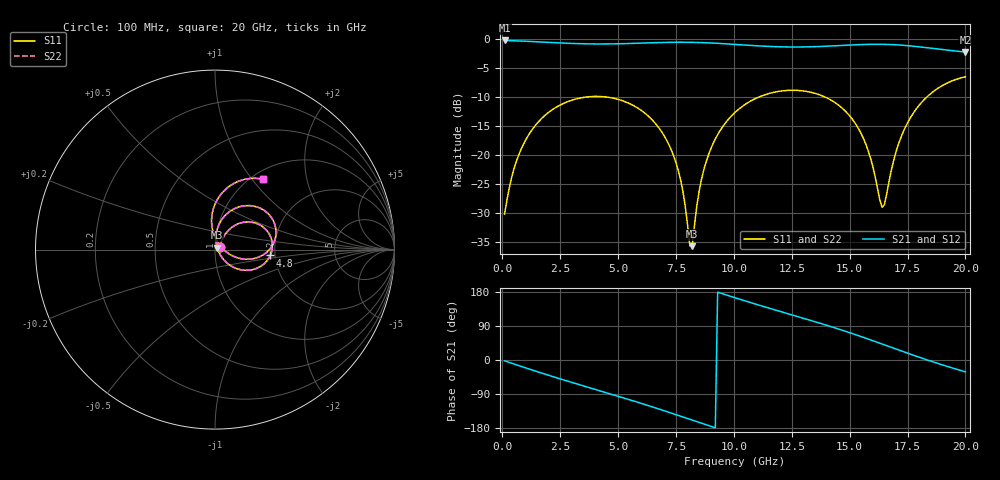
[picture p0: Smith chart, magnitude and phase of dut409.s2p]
! Touchstone file exported from HFSS 2026.1.0
!  File:  C:/ffzhzh/LocalFiles/Ansys_Project_Files/temp_train_TSV_RDL_409_1783093787_37876.aedt
!  Generated:  12:00:26 AM Jul  4, 2026
!  Design:  TSV_RDL
!  Project:  temp_train_TSV_RDL_409_1783093787_37876
! Variables:
!  h_bsmrdl = 2.94um
!  h_ox = 20um
!  h_rdl = 5um
!  h_sub = 82.73um
!  h_tmrdl = 5.96um
!  h_tsv = 82.73um
!  h_via = 3um
!  l_bsmrdl = 497.29um
!  l_sub = 5861.81um
!  l_tmrdl = 965.77um
!  m_sub = 200um
!  pitch = 33.72um
!  r_tsv = 14.18um
!  s_tmrdl = 10um
!  w_bsmrdl = 23.71um
!  w_sub = 500um
!  w_tmrdl = 11.91um
!  x_tsv_center1 = 971.725um
!  x_tsv_center2 = 1492.725um
!  x_tsv_center3 = 2470.405um
!  x_tsv_center4 = 2991.405um
!  x_tsv_center5 = 3969.085um
!  x_tsv_center6 = 4490.085um
# GHz S MA R 50.000000
! Terminal data exported
! Port[1] = TM_RDL1_1_T1
! Port[2] = TM_RDL5_1_T1
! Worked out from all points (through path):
!   200 points, 100 MHz to 20 GHz, reference 50 ohm
!   highest |S21| = -0.24 dB at 100 MHz (marker M1); lowest = -2.2 dB at 20 GHz (marker M2)
!   group delay of S21, straight-line fit = 54 ps
!   lowest |S11| = -35.7 dB at 8.2 GHz (marker M3), VSWR 1.03, Z = 51.3 + j1.1 ohm
!   |S11| at or under -10 dB: start of sweep to 3.588 GHz; 4.533 GHz to 11.07 GHz (6.535 GHz wide, 83.8 % of centre); 13.95 GHz to 18.33 GHz (4.38 GHz wide, 27.1 % of centre)
!   |S22| runs from -35.8 to -6.5 dB; largest |S21 - S12| = 1.7e-14
!   S11 on the Smith chart (normalised r, x): 100 MHz: 1.06, +0.03; 4.8 GHz: 1.88, -0.14; 20 GHz: 1.12, +1.13
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0.1  0.03117 26.8  0.9726 -2.2  0.9726 -2.2  0.03117 26.8
! Gamma 0 0 0 0
! Port Impedance 50 0 50 0
0.5  0.07578 55.1  0.9663 -10.5  0.9663 -10.5  0.07578 55.1
1.2  0.1564 52.8  0.9538 -24.6  0.9538 -24.6  0.1564 52.8
3.5  0.3144 16.1  0.9106 -68.2  0.9106 -68.2  0.3144 16.1
4.8  0.3096 -6.0  0.909 -91.9  0.909 -91.9  0.3096 -6.1
6.8  0.1681 -40.2  0.9334 -130.1  0.9334 -130.1  0.1681 -40.2
7.6  0.07388 -49.0  0.9389 -146.2  0.9389 -146.2  0.07387 -49.2
7.9  0.03663 -42.4  0.9387 -152.4  0.9387 -152.4  0.03655 -42.8
8.1  0.01663 -5.1  0.9378 -156.5  0.9378 -156.5  0.01639 -5.6
8.2  0.01649 40.5  0.937 -158.5  0.937 -158.5  0.01621 40.7
8.5  0.04894 83.3  0.9339 -164.7  0.9339 -164.7  0.04881 83.6
8.8  0.08745 85.5  0.9293 -170.8  0.9293 -170.8  0.08735 85.7
10.1  0.2384 67.0  0.898 163.3  0.898 163.3  0.2383 67.1
11.7  0.3472 40.0  0.8613 133.6  0.8613 133.6  0.3472 40.1
13.4  0.3455 12.1  0.8587 103.0  0.8587 103.0  0.3455 12.2
15.3  0.1805 -17.4  0.8939 66.0  0.8939 66.0  0.1806 -17.2
15.9  0.09493 -18.9  0.9013 53.2  0.9013 53.2  0.0951 -18.7
16.4  0.03565 31.2  0.9016 42.3  0.9016 42.3  0.03603 31.2
16.7  0.05919 86.0  0.8984 35.7  0.8984 35.7  0.05938 85.7
17.2  0.1397 97.5  0.8875 24.6  0.8875 24.6  0.1397 97.4
17.9  0.2536 89.9  0.8619 9.5  0.8619 9.5  0.2536 89.9
20  0.4735 55.6  0.7739 -31.3  0.7739 -31.3  0.4734 55.7
